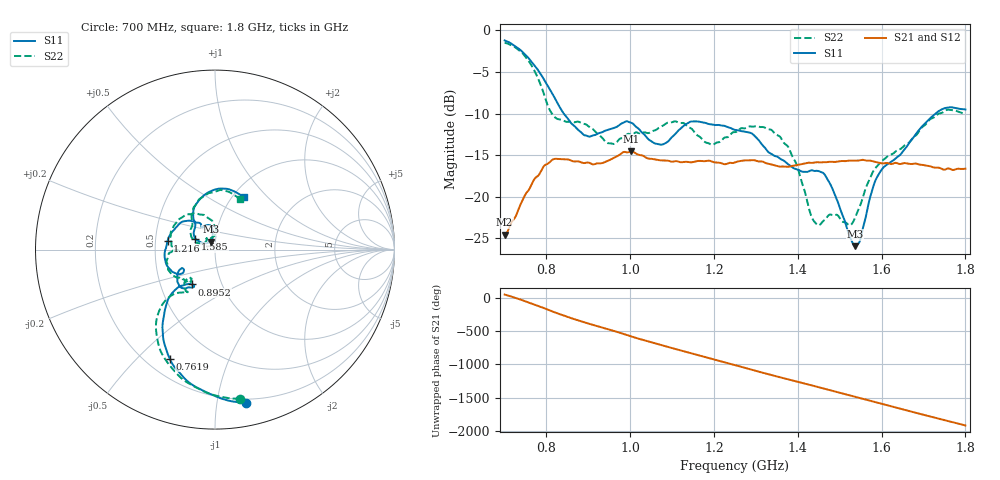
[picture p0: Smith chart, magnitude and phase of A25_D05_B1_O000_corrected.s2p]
! Created with skrf 1.9.0 (http://scikit-rf.org).
# Hz S RI R 50.0
!freq ReS11 ImS11 ReS21 ImS21 ReS12 ImS12 ReS22 ImS22
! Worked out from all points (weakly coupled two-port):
!   1601 points, 700 MHz to 1.8 GHz, reference 50 ohm
!   highest |S21| = -14.55 dB at 1.002 GHz (marker M1); lowest = -24.6 dB at 700 MHz (marker M2)
!   lowest |S11| = -25.9 dB at 1.537 GHz (marker M3), VSWR 1.11, Z = 47.5 + j4.22 ohm
!   |S11| at or under -10 dB: 841.2 MHz to 1.728 GHz (887.3 MHz wide, 69.1 % of centre)
!   |S22| runs from -23.4 to -1.5 dB; largest |S21 - S12| = 0.0034
!   S11 on the Smith chart (normalised r, x): 700 MHz: 0.17, -1.21; 761.9 MHz: 0.29, -0.63; 895.2 MHz: 0.72, -0.30; 1.216 GHz: 0.58, +0.06; 1.585 GHz: 0.80, +0.10; 1.8 GHz: 1.12, +0.74
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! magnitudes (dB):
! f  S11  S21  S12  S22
! 700 MHz  -1.2  -24.6  -24.3  -1.5
! 761.9 MHz  -3.6  -18.8  -18.7  -4.0
! 816.9 MHz  -7.9  -15.5  -15.6  -10.3
! 883.6 MHz  -12.3  -15.9  -15.8  -11.1
! 895.2 MHz  -12.6  -15.9  -16.0  -11.3
! 948.2 MHz  -11.9  -15.6  -15.7  -13.6
! 1.002 GHz  -11.1  -14.6  -14.7  -12.5
! 1.067 GHz  -13.7  -15.6  -15.5  -11.8
! 1.143 GHz  -11.0  -15.9  -15.8  -11.7
! 1.216 GHz  -11.4  -15.9  -15.9  -13.3
! 1.25 GHz  -12.0  -15.9  -15.8  -12.2
! 1.315 GHz  -13.8  -15.8  -15.9  -11.6
! 1.357 GHz  -15.4  -16.4  -16.3  -12.8
! 1.396 GHz  -16.7  -16.2  -16.2  -16.0
! 1.434 GHz  -16.8  -15.9  -15.9  -22.5
! 1.471 GHz  -18.0  -15.8  -15.8  -22.3
! 1.537 GHz  -25.9  -15.6  -15.7  -22.5
! 1.549 GHz  -25.1  -15.6  -15.6  -21.0
! 1.585 GHz  -18.1  -15.8  -15.8  -16.6
! 1.617 GHz  -16.0  -16.0  -16.0  -15.0
! 1.734 GHz  -9.8  -16.5  -16.5  -10.1
! 1.8 GHz  -9.5  -16.6  -16.6  -10.1
